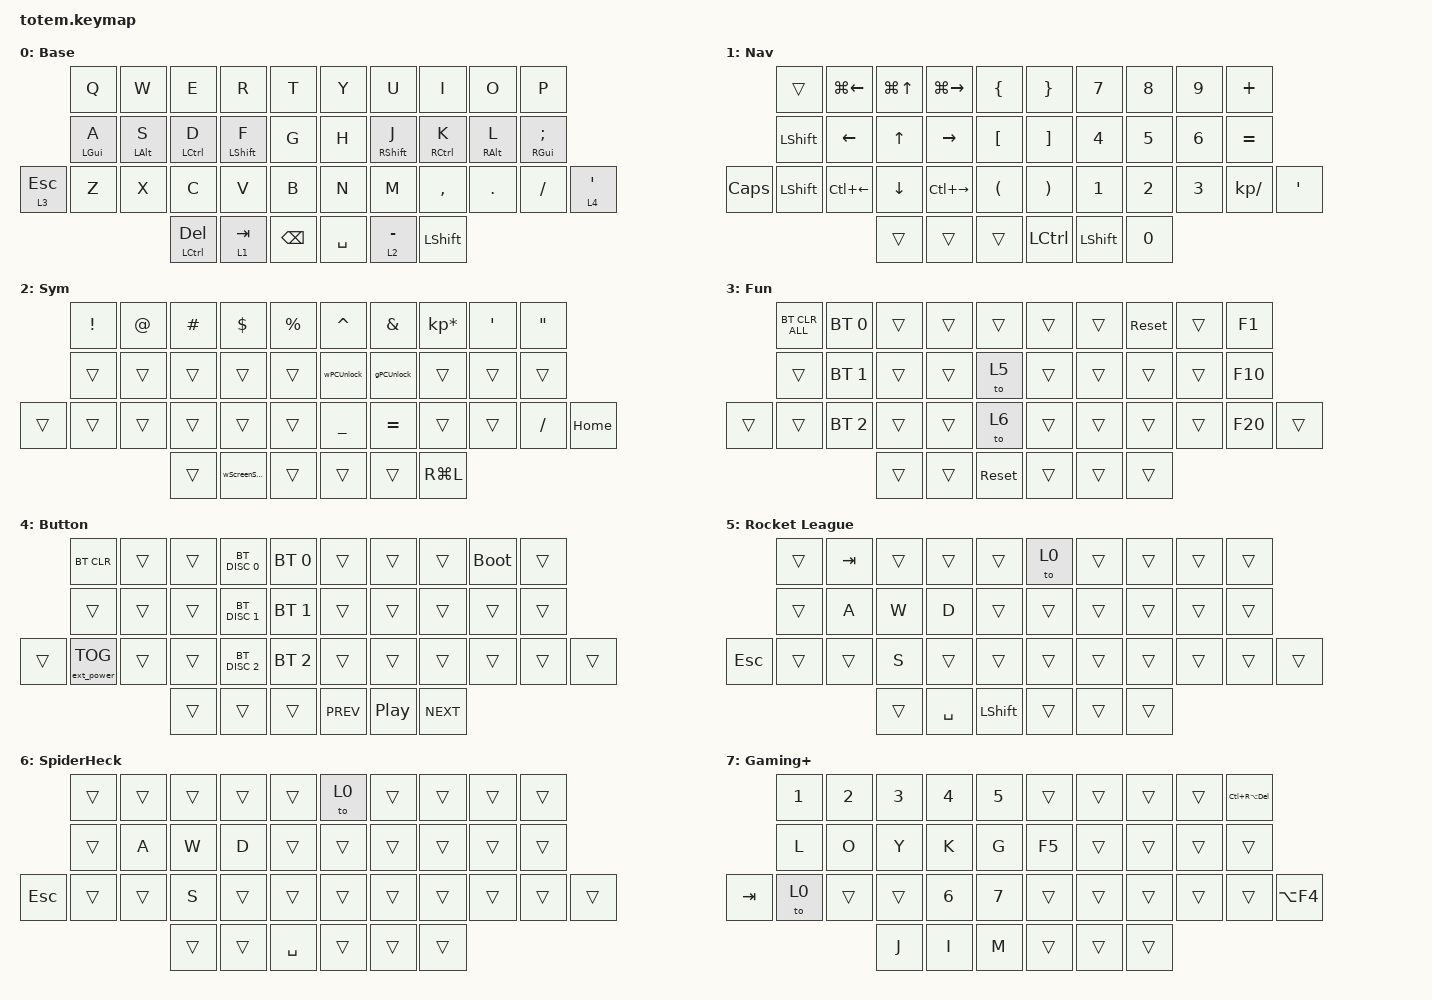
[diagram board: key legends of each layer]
//
//                                                        ▀▀▀▀▀     ▀▀▀▀▀          ▀▀█▀▀
//                                                        ▄▀▀▀▄  ▄  ▄▀▀▀▄  ▄  ▄▀▀▀▄  █  ▄▀▀▀▄
//                                                        █   █  █  █   █  █  █   █  █  █   █
//                                                         ▀▀▀   █   ▀▀▀   █   ▀▀▀   ▀   ▀▀▀
//                                                               █      ▄▄▄█▄▄▄    █   █  
//                                                               ▀      █  █  █     █▄█
//                                                             ▀▀▀▀▀    █  █  █      ▀
//                                                                      ▀  ▀  ▀
//
// ▄▄▄▄▄▄▄▄▄▄▄▄▄▄▄▄▄▄▄▄▄▄▄▄▄▄▄▄▄▄▄▄▄▄▄▄▄▄▄▄▄▄▄▄▄▄▄▄▄▄▄▄▄▄▄▄▄▄▄▄▄▄▄▄▄▄▄▄▄▄▄▄▄▄▄▄▄▄▄▄▄▄▄▄▄▄▄▄▄▄▄▄▄▄▄▄▄▄▄▄▄▄▄▄▄▄▄▄▄▄▄▄▄▄▄▄▄▄▄▄▄▄▄▄▄▄▄▄▄▄▄▄▄▄▄▄▄▄▄▄▄▄▄▄▄▄▄▄▄

#include <behaviors.dtsi>
#include <dt-bindings/zmk/bt.h>
#include <dt-bindings/zmk/ext_power.h>
#include <dt-bindings/zmk/keys.h>

#define Base        0
#define Media       1
#define Nav         2
#define Mouse       3
#define Sym         4
#define Num         5
#define Fun         6
#define Button      7
#define Game        8
#define Gameplus    9

&mt {
    quick-tap-ms = <100>;
    global-quick-tap;
    flavor = "tap-preferred";
    tapping-term-ms = <170>;
};

&lt {
    tapping-term-ms = <240>;
    flavor = "balanced";
    quick-tap-ms = <150>;
};

/ {
    behaviors {
        hm: homerow_mods {
            compatible = "zmk,behavior-hold-tap";
            label = "HOMEROW_MODS";
            #binding-cells = <2>;
            flavor = "tap-preferred";
            tapping-term-ms = <200>;
            quick-tap-ms = <150>;
            global-quick-tap;
            bindings = <&kp>, <&kp>;
        };

        swapper: swapper {
            compatible = "zmk,behavior-tri-state";
            label = "SWAPPER";
            #binding-cells = <0>;
            bindings = <&kt LALT>, <&kp TAB>, <&kt LALT>;

            ignored-key-positions = <5 6 13 16 37>;  // combo keys (Y, U) + shift keys for reverse tabbing
        };
    };

    combos {
        compatible = "zmk,combos";

        Enter {
            bindings = <&kp ENTER>;
            key-positions = <16 17>;
        };

        CtrlLeft {
            bindings = <&kp LC(LEFT_ARROW)>;
            key-positions = <32 11>;
        };

        CtrlRight {
            bindings = <&kp LC(RIGHT_ARROW)>;
            key-positions = <32 13>;
        };

        BangIt {
            bindings = <&kp F5>;
            key-positions = <34 35>;
        };

        capslock {
            bindings = <&kp CAPS>;
            key-positions = <37 32>;
        };

        wscreenshot {
            bindings = <&wScreenShot>;
            key-positions = <33 36>;
        };

        alttab {
            bindings = <&swapper>;
            key-positions = <5 6>;
        };

        shiftalttab {
            bindings = <&kp LS(LA(TAB))>;
            key-positions = <3 4>;
        };
    };

    macros {
        gPCUnlock: gPCUnlock {
            compatible = "zmk,behavior-macro";
            #binding-cells = <0>;
            bindings = <&none &kp N0 &kp N3 &kp N2 &kp N1 &kp N0>;
            label = "GPCUNLOCK";
        };

        wScreenShot: wScreenShot {
            compatible = "zmk,behavior-macro";
            #binding-cells = <0>;
            bindings = <&kp RC(RS(ENTER))>;
            label = "WSCREENSHOT";
        };

        wPCUnlock: wPCUnlock {
            compatible = "zmk,behavior-macro";
            #binding-cells = <0>;
            bindings = <&none &kp LS(R) &kp E &kp N &kp N &kp A &kp T &kp R &kp E &kp K &kp A &kp B &kp N0 &kp N3 &kp N2 &kp N1 &kp N0 &kp N0 &kp RET>;
            label = "WPCUNLOCK";
        };
    };

    keymap {
        compatible = "zmk,keymap";

        Base {
            label = "Base";
            bindings = <
              &kp Q       &kp W       &kp E          &kp R         &kp T            &kp Y      &kp U        &kp I           &kp O       &kp P
              &hm LGUI A  &hm LALT S  &hm LCTRL D    &hm LSHIFT F  &kp G            &kp H      &hm RSHFT J  &hm RCTRL K     &hm RALT L  &hm RGUI SEMICOLON
&lt 3 ESCAPE  &kp Z       &kp X       &kp C          &kp V         &kp B            &kp N      &kp M        &kp COMMA       &kp DOT     &kp SLASH           &lt 4 APOSTROPHE
                                      &mt LCTRL DEL  &lt 1 TAB     &kp BACKSPACE    &kp SPACE  &lt 2 MINUS  &kp LEFT_SHIFT
            >;
        };

        Nav {
            label = "Nav";
            bindings = <
          &trans          &kp LG(LEFT)        &kp LG(UP_ARROW)  &kp LG(RIGHT)        &kp LBRC    &kp RBRC   &kp NUMBER_7  &kp NUMBER_8  &kp NUMBER_9  &kp PLUS
          &kp LEFT_SHIFT  &kp LEFT            &kp UP            &kp RIGHT            &kp LBKT    &kp RBKT   &kp NUMBER_4  &kp NUMBER_5  &kp NUMBER_6  &kp EQUAL
&kp CAPS  &kp LSHFT       &kp LC(LEFT_ARROW)  &kp DOWN          &kp LC(RIGHT_ARROW)  &kp LPAR    &kp RPAR   &kp NUMBER_1  &kp NUMBER_2  &kp NUMBER_3  &kp KP_SLASH  &kp SQT
                                              &trans            &trans               &trans      &kp LCTRL  &kp LSHFT     &kp NUMBER_0
            >;
        };

        Sym {
            label = "Sym";
            bindings = <
        &kp EXCL  &kp AT  &kp HASH  &kp DOLLAR    &kp PERCENT    &kp CARET   &kp AMPERSAND  &kp KP_ASTERISK  &kp SQT  &kp DQT
        &trans    &trans  &trans    &trans        &trans         &wPCUnlock  &gPCUnlock     &trans           &trans   &trans
&trans  &trans    &trans  &trans    &trans        &trans         &kp UNDER   &kp EQUAL      &trans           &trans   &kp SLASH  &kp HOME
                          &trans    &wScreenShot  &trans         &trans      &trans         &kp RG(L)
            >;
        };

        Fun {
            label = "Fun";
            bindings = <
        &bt BT_CLR_ALL  &bt BT_SEL 0  &trans  &trans  &trans        &trans  &trans  &sys_reset  &trans  &kp F1
        &trans          &bt BT_SEL 1  &trans  &trans  &to 5         &trans  &trans  &trans      &trans  &kp F10
&trans  &trans          &bt BT_SEL 2  &trans  &trans  &to 6         &trans  &trans  &trans      &trans  &kp F20  &trans
                                      &trans  &trans  &sys_reset    &trans  &trans  &trans
            >;
        };

        Button {
            label = "Button";
            bindings = <
        &bt BT_CLR         &trans  &trans  &bt BT_DISC 0  &bt BT_SEL 0    &trans      &trans            &trans      &bootloader  &trans
        &trans             &trans  &trans  &bt BT_DISC 1  &bt BT_SEL 1    &trans      &trans            &trans      &trans       &trans
&trans  &ext_power EP_TOG  &trans  &trans  &bt BT_DISC 2  &bt BT_SEL 2    &trans      &trans            &trans      &trans       &trans  &trans
                                   &trans  &trans         &trans          &kp C_PREV  &kp C_PLAY_PAUSE  &kp C_NEXT
            >;
        };

        RocketLeague {
            bindings = <
            &trans  &kp TAB  &trans  &trans     &trans            &to 0   &trans  &trans  &trans  &trans
            &trans  &kp A    &kp W   &kp D      &trans            &trans  &trans  &trans  &trans  &trans
&kp ESCAPE  &trans  &trans   &kp S   &trans     &trans            &trans  &trans  &trans  &trans  &trans  &trans
                             &trans  &kp SPACE  &kp LEFT_SHIFT    &trans  &trans  &trans
            >;

            label = "Rocket League";
        };

        SpiderHeck {
            label = "SpiderHeck";
            bindings = <
            &trans  &trans  &trans  &trans  &trans       &to 0   &trans  &trans  &trans  &trans
            &trans  &kp A   &kp W   &kp D   &trans       &trans  &trans  &trans  &trans  &trans
&kp ESCAPE  &trans  &trans  &kp S   &trans  &trans       &trans  &trans  &trans  &trans  &trans  &trans
                            &trans  &trans  &kp SPACE    &trans  &trans  &trans
            >;
        };

        Gaming+ {
            bindings = <
         &kp NUMBER_1  &kp NUMBER_2  &kp NUMBER_3  &kp NUMBER_4  &kp NUMBER_5    &trans  &trans  &trans  &trans  &kp LC(RA(DEL))
         &kp L         &kp O         &kp Y         &kp K         &kp G           &kp F5  &trans  &trans  &trans  &trans
&kp TAB  &to 0         &trans        &trans        &kp NUMBER_6  &kp NUMBER_7    &trans  &trans  &trans  &trans  &trans           &kp LA(F4)
                                     &kp J         &kp I         &kp M           &trans  &trans  &trans
            >;

            label = "Gaming+";
        };
    };
};
